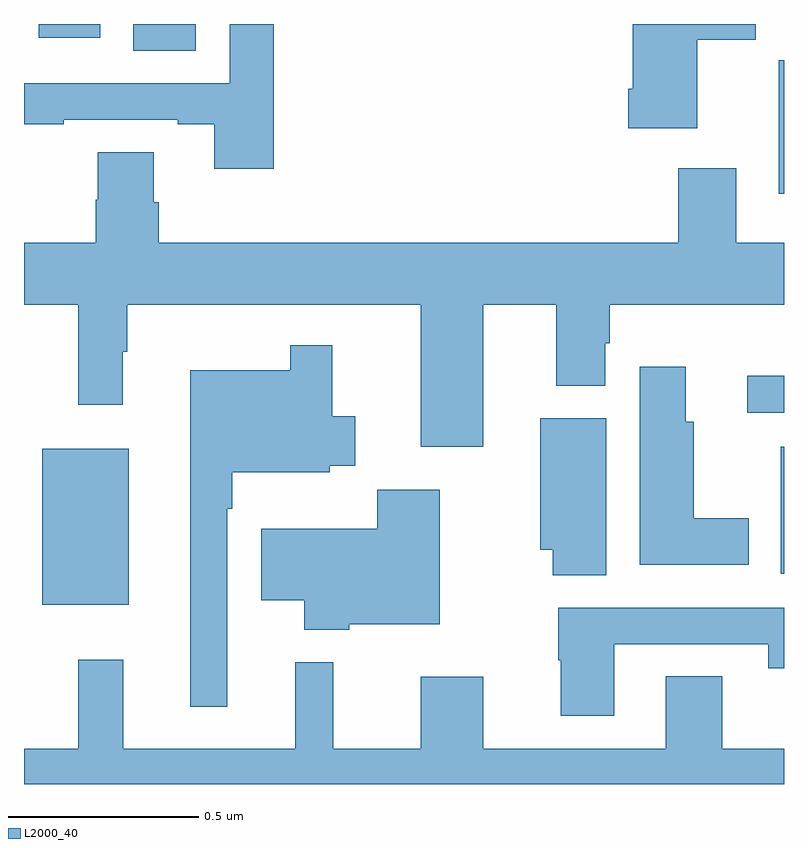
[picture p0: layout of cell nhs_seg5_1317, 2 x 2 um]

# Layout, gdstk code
import gdstk
lib = gdstk.Library(unit=1e-6, precision=1e-09)
def R(c, l, rs):  # rectangles x0, y0, x1, y1
    for r in rs: c.add(gdstk.rectangle(r[:2], r[2:], *l))
def P(c, l, *ps):  # polygons
    for p in ps: c.add(gdstk.Polygon(p, *l))
L2000_40 = (2000, 40)

nhs_seg5_1317 = lib.new_cell('nhs_seg5_1317')
R(nhs_seg5_1317, L2000_40, [(128.048,889.271,128.275,889.681), (129.992,889.352,130,889.687), (129.903,889.776,130,889.874), (129.986,890.352,130,890.704), (128.288,890.728,128.452,890.799), (128.039,890.763,128.2,890.799)])
P(nhs_seg5_1317, L2000_40, [(129.772,890.758),(129.925,890.758),(129.925,890.799),(129.602,890.799),(129.602,890.629),(129.59,890.629),(129.59,890.525),(129.772,890.525)],
  [(128.657,890.799),(128.541,890.799),(128.541,890.643),(128,890.643),(128,890.535),(128.105,890.535),(128.105,890.547),(128.405,890.547),(128.405,890.535),(128.501,890.535),(128.501,890.418),(128.657,890.418)],
  [(129.208,890.06),(129.401,890.06),(129.401,889.847),(129.529,889.847),(129.529,889.959),(129.542,889.959),(129.542,890.06),(130,890.06),(130,890.224),(129.874,890.224),(129.874,890.419),(129.722,890.419),(129.722,890.224),(128.354,890.224),(128.354,890.33),(128.341,890.33),(128.341,890.462),(128.194,890.462),(128.194,890.337),(128.189,890.337),(128.189,890.224),(128,890.224),(128,890.06),(128.143,890.06),(128.143,889.797),(128.26,889.797),(128.26,889.937),(128.272,889.937),(128.272,890.06),(129.044,890.06),(129.044,889.686),(129.208,889.686)],
  [(128.535,889.523),(128.548,889.523),(128.548,889.619),(128.805,889.619),(128.805,889.637),(128.872,889.637),(128.872,889.767),(128.811,889.767),(128.811,889.954),(128.7,889.954),(128.7,889.888),(128.438,889.888),(128.438,889.002),(128.535,889.002)],
  [(129.907,889.498),(129.763,889.498),(129.763,889.752),(129.742,889.752),(129.742,889.897),(129.62,889.897),(129.62,889.376),(129.907,889.376)],
  [(129.532,889.762),(129.359,889.762),(129.359,889.415),(129.391,889.415),(129.391,889.348),(129.532,889.348)],
  [(128.856,889.22),(129.094,889.22),(129.094,889.573),(128.929,889.573),(128.929,889.471),(128.624,889.471),(128.624,889.283),(128.738,889.283),(128.738,889.205),(128.856,889.205)],
  [(129.553,889.167),(129.958,889.167),(129.958,889.104),(130,889.104),(130,889.263),(129.406,889.263),(129.406,889.125),(129.413,889.125),(129.413,888.978),(129.553,888.978)],
  [(130,888.892),(129.837,888.892),(129.837,889.082),(129.689,889.082),(129.689,888.892),(129.208,888.892),(129.208,889.081),(129.044,889.081),(129.044,888.892),(128.814,888.892),(128.814,889.12),(128.714,889.12),(128.714,888.892),(128.261,888.892),(128.261,889.126),(128.143,889.126),(128.143,888.892),(128,888.892),(128,888.799),(130,888.799)])

lib.write_gds('nhs_seg5_1317.gds')
